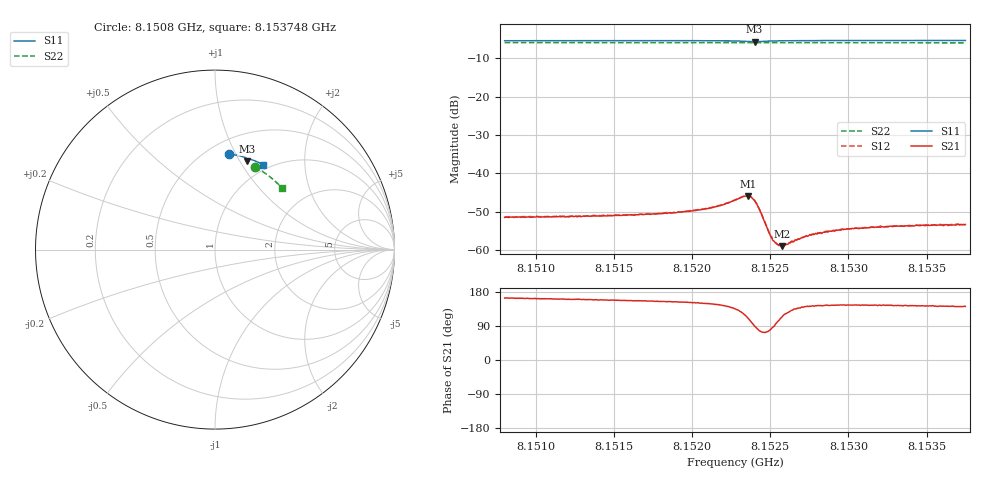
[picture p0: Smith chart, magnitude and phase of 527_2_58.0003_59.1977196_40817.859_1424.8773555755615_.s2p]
#  HZ  S  RI  R  50.00
! Rohde & Schwarz Vector Network Analyzer
! Rohde-Schwarz,ZNB20-2Port,1311601062101988,3.16
! Created: UTC 3/21/2024, 1:13:56 AM
! freq[Hz]  re:S11  im:S11  re:S21  im:S21  re:S12  im:S12  re:S22  im:S22
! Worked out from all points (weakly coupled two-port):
!   401 points, 8.1508 GHz to 8.153748 GHz, reference 50 ohm
!   highest |S21| = -45.89 dB at 8.152355 GHz (marker M1); lowest = -59.0 dB at 8.152576 GHz (marker M2)
!   lowest |S11| = -5.6 dB at 8.152399 GHz (marker M3), VSWR 3.19, Z = 39.5 + j53.5 ohm
!   |S11| at or under -10 dB: nowhere
!   |S22| runs from -5.9 to -5.8 dB; largest |S21 - S12| = 0.00012
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8.1508004e9  0.0774 0.5336  -0.00256 0.000757  -0.00259 0.000846  0.2232 0.459
8.1512942e9  0.1118 0.5282  -0.00257 0.000964  -0.00259 0.00102  0.2509 0.4437
8.1517879e9  0.1461 0.5205  -0.00268 0.00128  -0.00271 0.00132  0.2774 0.4267
8.1520016e9  0.1614 0.5157  -0.00284 0.00157  -0.00286 0.0016  0.2887 0.4188
8.1520826e9  0.1676 0.5134  -0.00297 0.00177  -0.00296 0.00178  0.293 0.416
8.1521932e9  0.1763 0.5091  -0.00315 0.00229  -0.00314 0.00235  0.2985 0.4114
8.1522742e9  0.1827 0.5035  -0.00318 0.00318  -0.0032 0.00322  0.3025 0.4083
8.1523258e9  0.1847 0.4972  -0.00273 0.00419  -0.00268 0.00424  0.3051 0.406
8.1523553e9  0.1833 0.4931  -0.00184 0.00473  -0.00181 0.00482  0.3064 0.4048
8.1523774e9  0.1805 0.4913  -0.000936 0.00482  -0.000891 0.00486  0.3072 0.4039
8.1523995e9  0.177 0.4918  2.96e-05 0.00442  0.000109 0.00443  0.3081 0.4031
8.152429e9  0.1746 0.4956  0.000723 0.00336  0.000756 0.00338  0.3096 0.4022
8.1524879e9  0.1783 0.5024  0.00043 0.00171  0.000409 0.00174  0.3126 0.4002
8.15251e9  0.1807 0.5035  0.000145 0.00141  0.000189 0.00146  0.3138 0.3992
8.1525395e9  0.1838 0.5042  -0.000159 0.0012  -0.000123 0.00122  0.3152 0.398
8.1525763e9  0.1877 0.5046  -0.000473 0.00102  -0.000473 0.00105  0.3171 0.3965
8.1525984e9  0.1897 0.5043  -0.000618 0.000994  -0.000634 0.00103  0.3183 0.3957
8.1527163e9  0.1999 0.5024  -0.00114 0.000948  -0.00114 0.000961  0.324 0.391
8.1527679e9  0.2037 0.5012  -0.00127 0.000962  -0.00127 0.000997  0.3265 0.3886
8.1529743e9  0.2184 0.4959  -0.00154 0.00106  -0.00154 0.00109  0.3364 0.3799
8.1532616e9  0.2375 0.488  -0.00167 0.00118  -0.00164 0.00122  0.3494 0.3672
8.153748e9  0.268 0.4728  -0.00169 0.00134  -0.00166 0.00137  0.3706 0.3448
